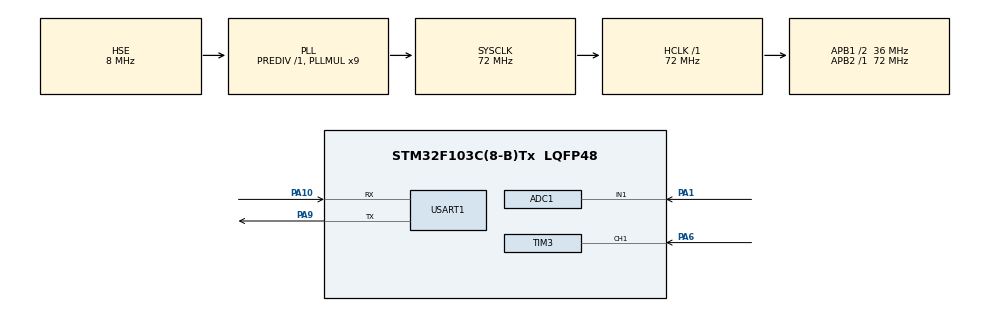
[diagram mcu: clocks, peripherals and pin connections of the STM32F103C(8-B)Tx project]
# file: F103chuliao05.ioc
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ADC1.Channel-0\#ChannelRegularConversion=ADC_CHANNEL_1
ADC1.NbrOfConversionFlag=1
ADC1.Rank-0\#ChannelRegularConversion=1
ADC1.SamplingTime-0\#ChannelRegularConversion=ADC_SAMPLETIME_1CYCLE_5
ADC1.master=1
Mcu.Family=STM32F1
Mcu.Name=STM32F103C(8-B)Tx
Mcu.Package=LQFP48
NVIC.PriorityGroup=NVIC_PRIORITYGROUP_4
NVIC.USART1_IRQn=true\:0\:0\:false\:false\:true\:true\:true\:true
PA1.Signal=ADCx_IN1
PA10.Mode=Asynchronous
PA10.Signal=USART1_RX
PA13.Mode=Serial_Wire
PA13.Signal=SYS_JTMS-SWDIO
PA14.Mode=Serial_Wire
PA14.Signal=SYS_JTCK-SWCLK
PA6.Signal=S_TIM3_CH1
PA9.Mode=Asynchronous
PA9.Signal=USART1_TX
PD0-OSC_IN.Mode=HSE-External-Oscillator
PD0-OSC_IN.Signal=RCC_OSC_IN
PD1-OSC_OUT.Mode=HSE-External-Oscillator
PD1-OSC_OUT.Signal=RCC_OSC_OUT
ProjectManager.HeapSize=0x200
ProjectManager.StackSize=0x400
ProjectManager.TargetToolchain=MDK-ARM V5.32
RCC.ADCPresc=RCC_ADCPCLK2_DIV6
RCC.AHBFreq_Value=72000000
RCC.APB1CLKDivider=RCC_HCLK_DIV2
RCC.APB1Freq_Value=36000000
RCC.APB1TimFreq_Value=72000000
RCC.APB2Freq_Value=72000000
RCC.APB2TimFreq_Value=72000000
RCC.HCLKFreq_Value=72000000
RCC.PLLMUL=RCC_PLL_MUL9
RCC.PLLSourceVirtual=RCC_PLLSOURCE_HSE
RCC.SYSCLKFreq_VALUE=72000000
RCC.SYSCLKSource=RCC_SYSCLKSOURCE_PLLCLK
RCC.USBFreq_Value=72000000
SH.ADCx_IN1.0=ADC1_IN1,IN1
SH.S_TIM3_CH1.0=TIM3_CH1,Input_Capture1_from_TI1
TIM3.Channel-Input_Capture1_from_TI1=TIM_CHANNEL_1
TIM3.ICFilter_CH1=15
TIM3.ICPolarity_CH1=TIM_INPUTCHANNELPOLARITY_FALLING
TIM3.Prescaler=71
USART1.VirtualMode=VM_ASYNC
VP_TIM3_VS_ClockSourceINT.Mode=Internal
board=custom

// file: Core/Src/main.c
/* USER CODE BEGIN Header */
/**
  ******************************************************************************
  * @file           : main.c
  * @brief          : Main program body
  ******************************************************************************
  * @attention
  *
  * Copyright (c) 2026 STMicroelectronics.
  * All rights reserved.
  *
  * This software is licensed under terms that can be found in the LICENSE file
  * in the root directory of this software component.
  * If no LICENSE file comes with this software, it is provided AS-IS.
  *
  ******************************************************************************
  */
/* USER CODE END Header */
#include "main.h"

/* USER CODE BEGIN Includes */
#include "sensor.h"
#include "usart_protocol.h"
#include "timing.h"
/* USER CODE END Includes */

ADC_HandleTypeDef hadc1;

TIM_HandleTypeDef htim3;

UART_HandleTypeDef huart1;

void SystemClock_Config(void);
static void MX_GPIO_Init(void);
static void MX_USART1_UART_Init(void);
static void MX_ADC1_Init(void);
static void MX_TIM3_Init(void);

int main(void)
{

  /* MCU Configuration--------------------------------------------------------*/

  /* Reset of all peripherals, Initializes the Flash interface and the Systick. */
  HAL_Init();

  /* Configure the system clock */
  SystemClock_Config();

  /* Initialize all configured peripherals */
  MX_GPIO_Init();
  MX_USART1_UART_Init();
  MX_ADC1_Init();
  MX_TIM3_Init();
  /* USER CODE BEGIN 2 */
  Sensor_Init();

  /* 启动霍尔传感器TIM3输入捕获 */
  Hall_Start();

  Protocol_Init();
  Timing_Init();
  /* USER CODE END 2 */

  /* Infinite loop */
  /* USER CODE BEGIN WHILE */
  while (1)
  {
    /* 更新霍尔传感器 (参照进料直接读GPIO) */
    Sensor_UpdateHall();

    /* 更新压力传感器 */
    Sensor_UpdatePressure();
    Sensor_UpdatePressureADC();

    /* 组帧并发送 (等待上一帧发完) */
    if (g_tx_ready == 1) {
        Protocol_SendFrame();
    }

    /* 50ms周期 */
    HAL_Delay(50);

    /* USER CODE END WHILE */

  }
}

void SystemClock_Config(void)
{
  RCC_OscInitTypeDef RCC_OscInitStruct = {0};
  RCC_ClkInitTypeDef RCC_ClkInitStruct = {0};
  RCC_PeriphCLKInitTypeDef PeriphClkInit = {0};

  /** Initializes the RCC Oscillators according to the specified parameters
  * in the RCC_OscInitTypeDef structure.
  */
  RCC_OscInitStruct.OscillatorType = RCC_OSCILLATORTYPE_HSE;
  RCC_OscInitStruct.HSEState = RCC_HSE_ON;
  RCC_OscInitStruct.HSEPredivValue = RCC_HSE_PREDIV_DIV1;
  RCC_OscInitStruct.HSIState = RCC_HSI_ON;
  RCC_OscInitStruct.PLL.PLLState = RCC_PLL_ON;
  RCC_OscInitStruct.PLL.PLLSource = RCC_PLLSOURCE_HSE;
  RCC_OscInitStruct.PLL.PLLMUL = RCC_PLL_MUL9;
  if (HAL_RCC_OscConfig(&RCC_OscInitStruct) != HAL_OK)
  {
    Error_Handler();
  }

  /** Initializes the CPU, AHB and APB buses clocks
  */
  RCC_ClkInitStruct.ClockType = RCC_CLOCKTYPE_HCLK|RCC_CLOCKTYPE_SYSCLK
                              |RCC_CLOCKTYPE_PCLK1|RCC_CLOCKTYPE_PCLK2;
  RCC_ClkInitStruct.SYSCLKSource = RCC_SYSCLKSOURCE_PLLCLK;
  RCC_ClkInitStruct.AHBCLKDivider = RCC_SYSCLK_DIV1;
  RCC_ClkInitStruct.APB1CLKDivider = RCC_HCLK_DIV2;
  RCC_ClkInitStruct.APB2CLKDivider = RCC_HCLK_DIV1;

  if (HAL_RCC_ClockConfig(&RCC_ClkInitStruct, FLASH_LATENCY_2) != HAL_OK)
  {
    Error_Handler();
  }
  PeriphClkInit.PeriphClockSelection = RCC_PERIPHCLK_ADC;
  PeriphClkInit.AdcClockSelection = RCC_ADCPCLK2_DIV6;
  if (HAL_RCCEx_PeriphCLKConfig(&PeriphClkInit) != HAL_OK)
  {
    Error_Handler();
  }
}

static void MX_ADC1_Init(void)
{

  ADC_ChannelConfTypeDef sConfig = {0};

  /** Common config
  */
  hadc1.Instance = ADC1;
  hadc1.Init.ScanConvMode = ADC_SCAN_DISABLE;
  hadc1.Init.ContinuousConvMode = DISABLE;
  hadc1.Init.DiscontinuousConvMode = DISABLE;
  hadc1.Init.ExternalTrigConv = ADC_SOFTWARE_START;
  hadc1.Init.DataAlign = ADC_DATAALIGN_RIGHT;
  hadc1.Init.NbrOfConversion = 1;
  if (HAL_ADC_Init(&hadc1) != HAL_OK)
  {
    Error_Handler();
  }

  /** Configure Regular Channel
  */
  sConfig.Channel = ADC_CHANNEL_1;
  sConfig.Rank = ADC_REGULAR_RANK_1;
  /* FSR分压源阻抗较高，使用最长采样时间确保采样保持电容充分充电。 */
  sConfig.SamplingTime = ADC_SAMPLETIME_239CYCLES_5;
  if (HAL_ADC_ConfigChannel(&hadc1, &sConfig) != HAL_OK)
  {
    Error_Handler();
  }

}

static void MX_TIM3_Init(void)
{

  TIM_ClockConfigTypeDef sClockSourceConfig = {0};
  TIM_MasterConfigTypeDef sMasterConfig = {0};
  TIM_IC_InitTypeDef sConfigIC = {0};

  htim3.Instance = TIM3;
  htim3.Init.Prescaler = 71;
  htim3.Init.CounterMode = TIM_COUNTERMODE_UP;
  htim3.Init.Period = 65535;
  htim3.Init.ClockDivision = TIM_CLOCKDIVISION_DIV1;
  htim3.Init.AutoReloadPreload = TIM_AUTORELOAD_PRELOAD_DISABLE;
  if (HAL_TIM_Base_Init(&htim3) != HAL_OK)
  {
    Error_Handler();
  }
  sClockSourceConfig.ClockSource = TIM_CLOCKSOURCE_INTERNAL;
  if (HAL_TIM_ConfigClockSource(&htim3, &sClockSourceConfig) != HAL_OK)
  {
    Error_Handler();
  }
  if (HAL_TIM_IC_Init(&htim3) != HAL_OK)
  {
    Error_Handler();
  }
  sMasterConfig.MasterOutputTrigger = TIM_TRGO_RESET;
  sMasterConfig.MasterSlaveMode = TIM_MASTERSLAVEMODE_DISABLE;
  if (HAL_TIMEx_MasterConfigSynchronization(&htim3, &sMasterConfig) != HAL_OK)
  {
    Error_Handler();
  }
  sConfigIC.ICPolarity = TIM_INPUTCHANNELPOLARITY_FALLING;
  sConfigIC.ICSelection = TIM_ICSELECTION_DIRECTTI;
  sConfigIC.ICPrescaler = TIM_ICPSC_DIV1;
  sConfigIC.ICFilter = 15;
  if (HAL_TIM_IC_ConfigChannel(&htim3, &sConfigIC, TIM_CHANNEL_1) != HAL_OK)
  {
    Error_Handler();
  }

}

static void MX_USART1_UART_Init(void)
{

  huart1.Instance = USART1;
  huart1.Init.BaudRate = 115200;
  huart1.Init.WordLength = UART_WORDLENGTH_8B;
  huart1.Init.StopBits = UART_STOPBITS_1;
  huart1.Init.Parity = UART_PARITY_NONE;
  huart1.Init.Mode = UART_MODE_TX_RX;
  huart1.Init.HwFlowCtl = UART_HWCONTROL_NONE;
  huart1.Init.OverSampling = UART_OVERSAMPLING_16;
  if (HAL_UART_Init(&huart1) != HAL_OK)
  {
    Error_Handler();
  }

}

static void MX_GPIO_Init(void)
{
  GPIO_InitTypeDef GPIO_InitStruct = {0};

  /* GPIO Ports Clock Enable */
  __HAL_RCC_GPIOD_CLK_ENABLE();
  __HAL_RCC_GPIOA_CLK_ENABLE();
  __HAL_RCC_GPIOB_CLK_ENABLE();          /* PB0: 压力传感器 DO ( PRESSURE_DO ) */

  /* USER CODE BEGIN MX_GPIO_Init_2 */
  /* PB0: 压力传感器 DO (PRESSURE_DO), 上拉输入 */
  GPIO_InitStruct.Pin   = GPIO_PIN_0;
  GPIO_InitStruct.Mode  = GPIO_MODE_INPUT;
  GPIO_InitStruct.Pull  = GPIO_PULLUP;
  HAL_GPIO_Init(GPIOB, &GPIO_InitStruct);
  /* USER CODE END MX_GPIO_Init_2 */
}

/* USER CODE BEGIN 4 */

void HAL_UART_TxCpltCallback(UART_HandleTypeDef *huart)
{
    if (huart->Instance == USART1) {
        Protocol_TxCpltCallback();
    }
}

/* USER CODE END 4 */

void Error_Handler(void)
{
  __disable_irq();
  while (1)
  {
  }
}
